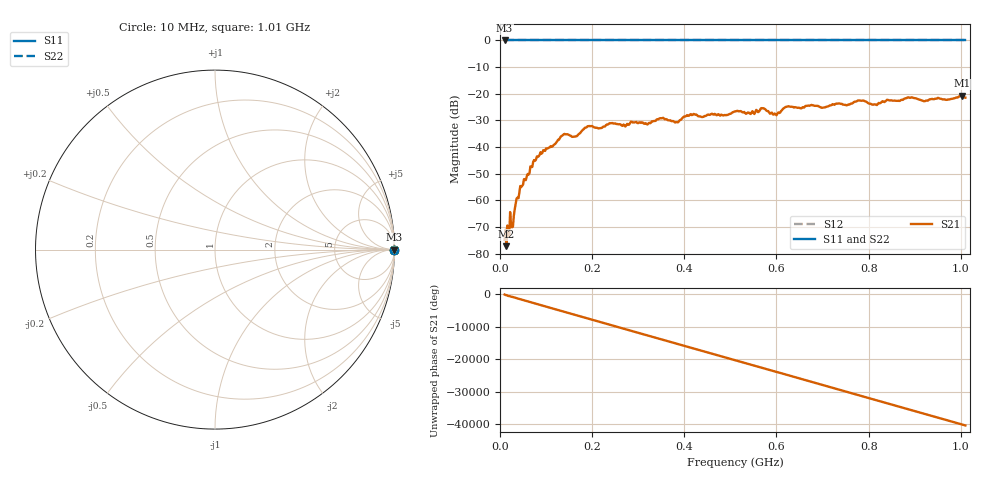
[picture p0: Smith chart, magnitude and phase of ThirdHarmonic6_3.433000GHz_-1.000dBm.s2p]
! 8/17/2025 11:02:52 AM
! C:\ANRITSUVNA\TEMP\TEMP.S2P
! CHANNEL.1
! TR.MEASUREMENT
! RAW.DATA
! RF.CORRECTION.OFF
! AVERAGING.OFF
! IF.BANDWIDTH: 5KHZ
! SWEEPTYPE:  FREQ.SWEEP(Linear)
! Reference Plane Port Info
! PORT:  PORT1  PORT2
! DISTANCE:  0  m  0  m
! TIME:  0  s  0  s
! PHASE.OFFSET:  0  deg.  0  deg.
! LOSS:  0  dB  0  dB
! REF.LOSS:  0  dB  0  dB
! REF.FREQ:  0  Hz  0  Hz
! Power Info
! POWER:  -20  dBm  -20  dBm
! EFF.POWER:  -20  dBm  -20  dBm
! SOURCE.ATTEN:  0  dB  0  dB
! TEST.ATTEN:  0  dB  0  dB
# GHZ S RI R 50.0
! FREQ.GHZ  S11RE  S11IM  S21RE  S21IM  S12RE  S12IM  S22RE  S22IM
!; PortSelection: Port_12
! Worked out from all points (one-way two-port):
!   501 points, 10 MHz to 1.01 GHz, reference 50 ohm
!   highest |S21| = -20.79 dB at 1.002 GHz (marker M1); lowest = -77.2 dB at 14 MHz (marker M2)
!   lowest |S11| = 0.0 dB at 10 MHz (marker M3)
!   |S11| at or under -10 dB: nowhere
!   |S22| runs from 0.0 to 0.0 dB; largest |S21 - S12| = 1.1
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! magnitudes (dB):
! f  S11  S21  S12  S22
! 10 MHz  0.0  -74.9  0.0  0.0
! 14 MHz  0.0  -77.2  0.0  0.0
! 28 MHz  0.0  -70.0  0.0  0.0
! 34 MHz  0.0  -61.4  0.0  0.0
! 48 MHz  0.0  -54.6  0.0  0.0
! 76 MHz  0.0  -45.2  0.0  0.0
! 136 MHz  0.0  -35.6  0.0  0.0
! 162 MHz  0.0  -36.1  0.0  0.0
! 178 MHz  0.0  -33.9  0.0  0.0
! 194 MHz  0.0  -32.1  0.0  0.0
! 322 MHz  0.0  -31.1  0.0  0.0
! 344 MHz  0.0  -29.5  0.0  0.0
! 384 MHz  0.0  -30.6  0.0  0.0
! 416 MHz  0.0  -28.0  0.0  0.0
! 510 MHz  0.0  -26.6  0.0  0.0
! 570 MHz  0.0  -25.5  0.0  0.0
! 596 MHz  0.0  -27.4  0.0  0.0
! 624 MHz  0.0  -24.8  0.0  0.0
! 678 MHz  0.0  -24.3  0.0  0.0
! 844 MHz  0.0  -22.5  0.0  0.0
! 1.002 GHz  0.0  -20.8  0.0  0.0
! 1.01 GHz  0.0  -21.5  0.0  0.0
